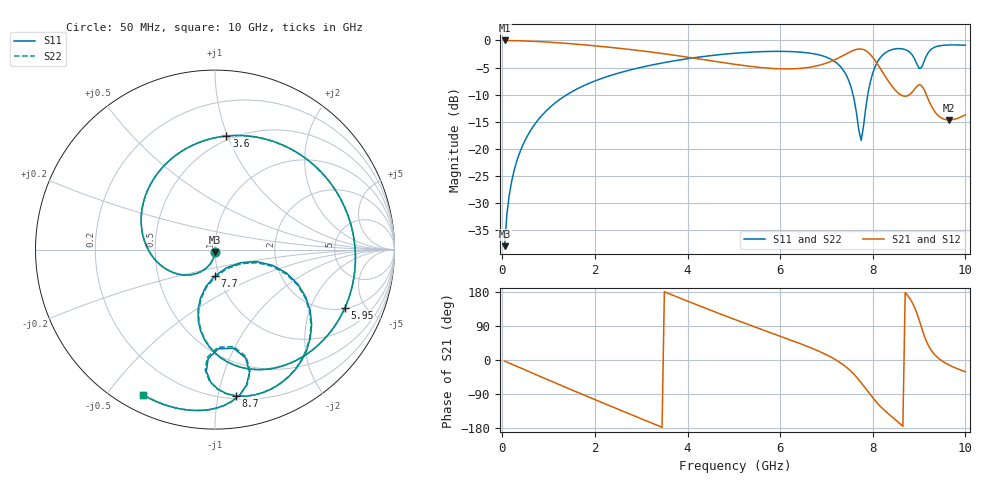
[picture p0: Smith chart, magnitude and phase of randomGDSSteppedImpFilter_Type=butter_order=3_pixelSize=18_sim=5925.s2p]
! freq	dB(S11)	phase(S11)	dB(S12)	phase(S12)
!  dB(S21)	phase(S21)	dB(S22)	phase(S22)
!S-par simulation data
#  GHz  S  DB  R 50
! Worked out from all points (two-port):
!   200 points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, 50 MHz to 10 GHz, reference 50 ohm
!   highest |S21| = -0.01 dB at 50 MHz (marker M1); lowest = -14.6 dB at 9.65 GHz (marker M2)
!   |S21| within 3 dB of the highest: start of sweep to 3.94 GHz; 7.313 GHz to 7.988 GHz (675.7 MHz wide, 8.83 % of centre)
!   lowest |S11| = -37.9 dB at 50 MHz (marker M3), VSWR 1.03, Z = 49.9 - j1.27 ohm
!   |S11| at or under -10 dB: start of sweep to 1.396 GHz; 7.573 GHz to 7.892 GHz (319.4 MHz wide, 4.13 % of centre)
!   |S22| runs from -37.9 to -0.8 dB; largest |S21 - S12| = 0
!   S11 on the Smith chart (normalised r, x): 50 MHz: 1.00, -0.03; 3.6 GHz: 0.47, +0.99; 5.95 GHz: 2.05, -3.58; 7.7 GHz: 0.95, -0.29; 8.7 GHz: 0.22, -1.13; 10 GHz: 0.07, -0.62
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0.05  -37.92 -92.0  -0.01 -2.7  -0.01 -2.7  -37.92 -92.0
0.2  -26.06 -100.8  -0.03 -10.7  -0.03 -10.7  -26.06 -100.8
0.5  -18.27 -117.2  -0.10 -26.7  -0.10 -26.7  -18.27 -117.3
1.15  -11.47 -151.6  -0.40 -60.8  -0.40 -60.8  -11.47 -151.6
1.75  -8.38 177.4  -0.80 -91.8  -0.80 -91.8  -8.38 177.4
2.65  -5.69 131.7  -1.57 -137.5  -1.57 -137.5  -5.69 131.6
3.4  -4.24 94.1  -2.35 -175.0  -2.35 -175.0  -4.24 94.1
3.6  -3.93 84.2  -2.59 175.0  -2.59 175.0  -3.93 84.2
5.05  -2.34 15.4  -4.44 105.6  -4.44 105.6  -2.34 15.4
5.95  -2.01 -24.1  -5.22 65.1  -5.22 65.1  -2.01 -24.0
6.7  -2.42 -57.3  -4.85 30.3  -4.85 30.3  -2.42 -57.2
7.4  -5.97 -96.8  -2.61 -16.1  -2.61 -16.1  -5.95 -96.4
7.7  -16.62 -90.6  -1.58 -52.5  -1.58 -52.5  -16.37 -89.6
7.75  -18.42 -57.5  -1.58 -60.1  -1.58 -60.1  -18.04 -57.8
8.05  -4.86 -27.7  -3.70 -107.2  -3.70 -107.2  -4.85 -28.3
8.35  -1.89 -56.2  -7.67 -143.4  -7.67 -143.4  -1.90 -56.5
8.7  -1.68 -81.8  -10.29 178.3  -10.29 178.3  -1.70 -82.2
8.9  -3.35 -94.1  -9.01 139.5  -9.01 139.5  -3.42 -94.6
9.05  -5.05 -79.3  -8.29 86.5  -8.29 86.5  -5.18 -79.1
9.2  -2.21 -76.9  -10.89 38.6  -10.89 38.6  -2.25 -76.6
9.65  -0.83 -102.1  -14.65 -13.4  -14.65 -13.4  -0.84 -102.0
10  -0.89 -116.4  -13.70 -31.2  -13.70 -31.2  -0.89 -116.3
